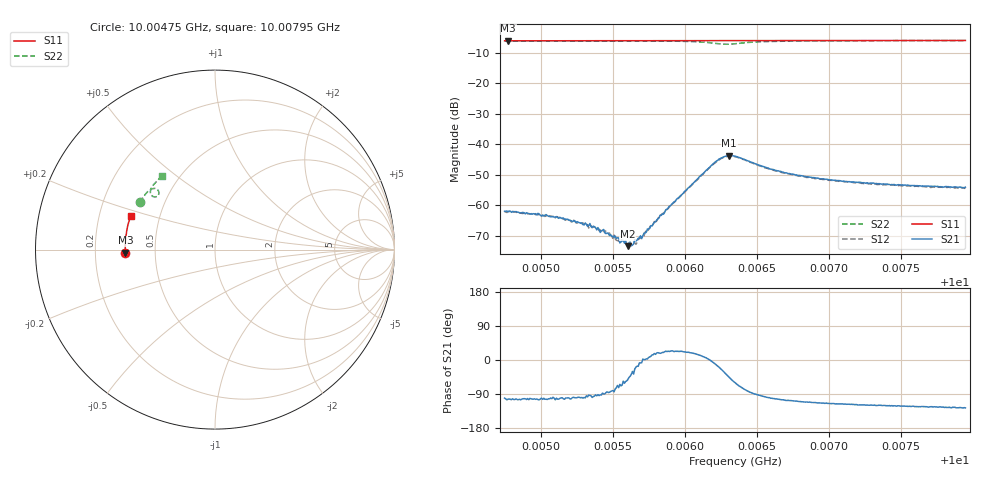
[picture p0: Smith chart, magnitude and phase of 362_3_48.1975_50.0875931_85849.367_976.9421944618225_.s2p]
#  HZ  S  RI  R  50.00
! Rohde & Schwarz Vector Network Analyzer
! Rohde-Schwarz,ZNB20-2Port,1311601062101988,3.16
! Created: UTC 3/20/2024, 11:52:15 AM
! freq[Hz]  re:S11  im:S11  re:S21  im:S21  re:S12  im:S12  re:S22  im:S22
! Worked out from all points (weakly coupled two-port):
!   401 points, 10.00475 GHz to 10.00795 GHz, reference 50 ohm
!   highest |S21| = -43.70 dB at 10.00631 GHz (marker M1); lowest = -73.4 dB at 10.0056 GHz (marker M2)
!   lowest |S11| = -6.0 dB at 10.00477 GHz (marker M3), VSWR 2.99, Z = 16.7 - j0.755 ohm
!   |S11| at or under -10 dB: nowhere
!   |S22| runs from -7.2 to -6.0 dB; largest |S21 - S12| = 0.00039
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1.0004748e10  -0.4989 -0.0185  -0.000145 -0.000784  -0.000119 -0.000769  -0.4179 0.2627
1.0004772e10  -0.4988 -0.017  -0.000183 -0.000763  -0.000138 -0.00078  -0.4171 0.2641
1.00051e10  -0.4997 0.00443  -0.000166 -0.000618  -8.57e-05 -0.000614  -0.4054 0.2836
1.0005284e10  -0.4998 0.0164  -7.88e-05 -0.000506  -3.26e-05 -0.000499  -0.3981 0.2945
1.0005356e10  -0.5 0.0211  -6.6e-05 -0.000429  1.24e-05 -0.000427  -0.395 0.2988
1.000546e10  -0.4997 0.0279  3.66e-05 -0.000347  3.05e-05 -0.000366  -0.3903 0.3053
1.0005532e10  -0.4997 0.0323  0.000114 -0.00027  7.78e-05 -0.000251  -0.387 0.3094
1.0005565e10  -0.4995 0.0346  0.000106 -0.000241  0.000129 -0.000231  -0.3854 0.3115
1.0005605e10  -0.4995 0.0371  0.000132 -0.000167  0.000154 -0.000164  -0.3832 0.3139
1.0005621e10  -0.4993 0.0382  0.000181 -0.000169  0.000179 -0.000156  -0.3825 0.315
1.0005645e10  -0.4993 0.0399  0.000185 -0.00014  0.000222 -0.000112  -0.3812 0.3164
1.0005677e10  -0.4992 0.0419  0.000274 -8.22e-05  0.000272 -4.57e-05  -0.3793 0.3185
1.0005717e10  -0.4991 0.0444  0.000349 3.87e-06  0.000314 -3.13e-07  -0.3769 0.3209
1.0005821e10  -0.4986 0.0511  0.000581 0.000196  0.00059 0.000268  -0.37 0.3276
1.0006197e10  -0.4959 0.0754  0.00473 -0.00051  0.00466 -0.000296  -0.3171 0.3303
1.0006261e10  -0.4952 0.0791  0.00541 -0.00278  0.00545 -0.00245  -0.3133 0.3102
1.0006309e10  -0.4949 0.082  0.00454 -0.0047  0.00469 -0.00435  -0.3237 0.2966
1.0006349e10  -0.4947 0.0845  0.00317 -0.00551  0.00338 -0.00524  -0.3366 0.2934
1.0006613e10  -0.4926 0.1015  -0.000775 -0.00378  -0.000586 -0.00373  -0.3587 0.3316
1.0006886e10  -0.4895 0.1188  -0.00107 -0.00263  -0.000914 -0.00264  -0.3468 0.3554
1.0007422e10  -0.4811 0.1523  -0.0011 -0.0019  -0.000997 -0.00192  -0.3202 0.3856
1.0007951e10  -0.4707 0.1847  -0.00117 -0.00159  -0.00105 -0.00159  -0.2931 0.4097
